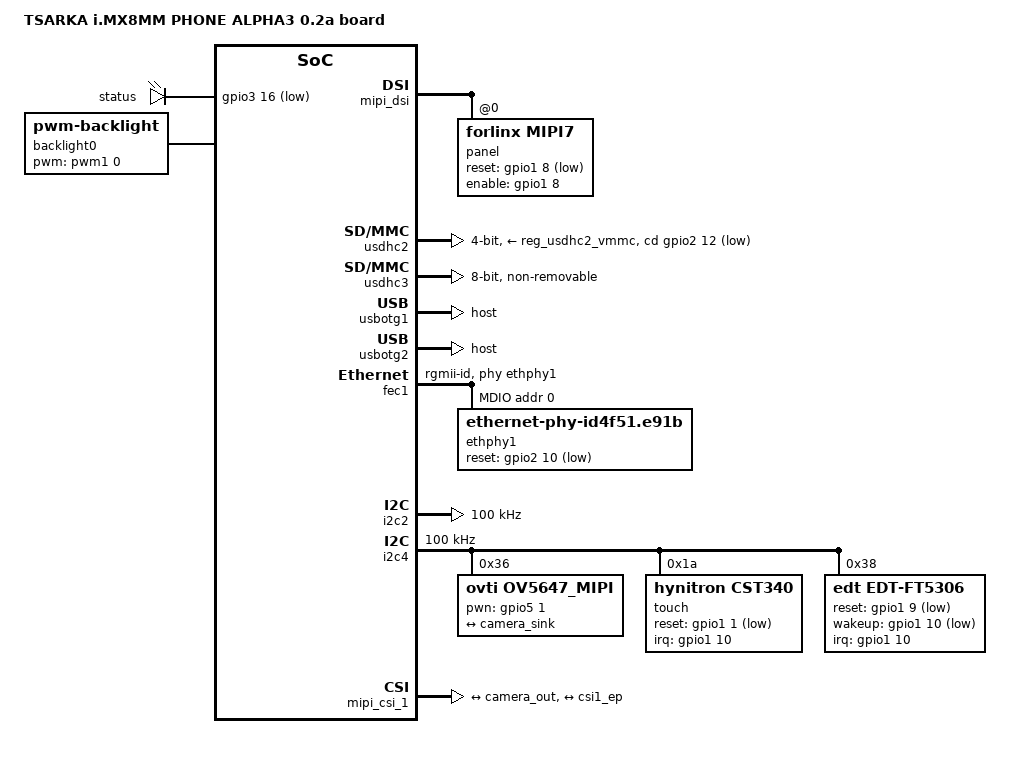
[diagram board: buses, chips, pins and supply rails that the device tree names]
#include "imx8mm-ddr4-evk.dts"

/ {
	model = "TSARKA i.MX8MM PHONE ALPHA3 0.2a board";
	leds {
		compatible = "gpio-leds";
		pinctrl-names = "default";
		pinctrl-0 = <&pinctrl_gpio_led>;

		status {
			label = "status";
			gpios = <&gpio3 16 GPIO_ACTIVE_LOW>;
			linux,default-trigger = "heartbeat";
		};
	};
	aliases {
		/delete-property/ mmc0;
		/delete-property/ sai3;
	};

	// sound-aic3104 {
	// 	compatible = "simple-audio-card";
	// 	simple-audio-card,name = "tsarka-audio";
	// 	simple-audio-card,format = "i2s";
	// 	simple-audio-card,bitclock-master = <&dailink0_master>;
	// 	simple-audio-card,frame-master = <&dailink0_master>;
	// 	simple-audio-card,widgets =
	// 		"Speaker", "Internal Speaker",
	// 		"Headphone", "Headphone Jack",
	// 		"Line", "Handset",
	// 		"Microphone", "Speaker Microphone",
	// 		"Microphone", "Headphone Microphone",
	// 		"Microphone", "Handset Microphone";

	// 	simple-audio-card,routing =
	// 		"Headphone Jack", "HPLOUT",
	// 		"Headphone Jack", "HPROUT",
	// 		"Headphone Microphone", "MIC2L",
	// 		"Headphone Microphone", "MIC2R",
	// 		"Internal Speaker", "LLOUT",
	// 		"Internal Speaker", "RLOUT",
	// 		"Speaker Microphone", "LINE1L",
	// 		"Speaker Microphone", "LINE1R",
	// 		"Handset", "RLOUT",
	// 		"Handset Microphone", "LINE1L";

	// 	dailink0_master: simple-audio-card,cpu {
	// 		sound-dai = <&sai2>;
	// 	};

	// 	simple-audio-card,codec {
	// 		sound-dai = <&tlv320aic3104>;
	// 		clocks = <&clk IMX8MM_CLK_SAI2>;
	// 	};
	// };

	backlight0: backlight@0 {
		compatible = "pwm-backlight";
		pwms = <&pwm1 0 50000 0>;

		brightness-levels = < 0 23 23 23 23 23 23 23 23 23
				     23 23 23 23 23 23 23 23 23 23
				     23 23 23 23 24 25 26 27 28 29
				     30 31 32 33 34 35 36 37 38 39
				     40 41 42 43 44 45 46 47 48 49
				     50 51 52 53 54 55 56 57 58 59
				     60 61 62 63 64 65 66 67 68 69
				     70 71 72 73 74 75 76 77 78 79
				     80 81 82 83 84 85 86 87 88 89
				     90 91 92 93 94 95 96 97 98 99
				    100>;
		default-brightness-level = <80>;
	};

	/delete-node/ sound-wm8524;
	/delete-node/ sound-bt-sco;
};

/delete-node/&audio_codec_bt_sco;

// Disable HDMI converter
&adv_bridge {
	status = "disabled";
};

&mipi_dsi {
	panel@0 {
		status = "okay";
		reg = <0>;
		compatible = "forlinx,mipi7";
		pinctrl-0 = <&pinctrl_mipi_dsi_en>;
		reset-gpios = <&gpio1 8 GPIO_ACTIVE_LOW>;
		enable-gpios = <&gpio1 8 GPIO_ACTIVE_HIGH>;
	};
};

&usdhc2 {
	pinctrl-names = "default", "state_100mhz", "state_200mhz";
	pinctrl-0 = <&pinctrl_usdhc2>, <&pinctrl_usdhc2_gpio>;
	pinctrl-1 = <&pinctrl_usdhc2_100mhz>, <&pinctrl_usdhc2_gpio>;
	pinctrl-2 = <&pinctrl_usdhc2_200mhz>, <&pinctrl_usdhc2_gpio>;
	cd-gpios = <&gpio2 12 GPIO_ACTIVE_LOW>;
	bus-width = <4>;
	vmmc-supply = <&reg_usdhc2_vmmc>;
	status = "okay";
};

&usdhc3 {
	pinctrl-names = "default", "state_100mhz", "state_200mhz";
	pinctrl-0 = <&pinctrl_usdhc3>;
	pinctrl-1 = <&pinctrl_usdhc3_100mhz>;
	pinctrl-2 = <&pinctrl_usdhc3_200mhz>;
	bus-width = <8>;
	non-removable;
	status = "okay";
};

&usbotg1 {
	dr_mode = "host";
	status = "okay";
};

&usbotg2 {
	dr_mode = "host";
	status = "okay";
};
 
/delete-node/&usdhc1;
/delete-node/&reg_usdhc1_vmmc;
/delete-node/&ethphy0;
&fec1 {
	pinctrl-names = "default";
	pinctrl-0 = <&pinctrl_fec1>;
	phy-mode = "rgmii-id";
	phy-handle = <&ethphy1>;
	fsl,magic-packet;
	status = "okay";

	mdio {
		#address-cells = <1>;
		#size-cells = <0>;

		ethphy1: ethernet-phy@0 {
			compatible = "ethernet-phy-id4f51.e91b","ethernet-phy-ieee802.3-c22";
			reg = <0>;
			reset-assert-us = <100000>;
			reset-deassert-us = <1000000>;
			reset-gpios = <&gpio2 10 GPIO_ACTIVE_LOW>;
			// interrupt-parent = <&gpio2>; // pin 2.11
 			// interrupts = <11 IRQ_TYPE_LEVEL_LOW>;
			//at803x,led-act-blind-workaround;
			//at803x,eee-okay;
			//at803x,vddio-1p8v;
			rx-internal-delay-ps = <1950>;
            tx-internal-delay-ps = <1950>;
			motorcomm,clk-out-frequency-hz = <125000000>;
            motorcomm,keep-pll-enabled;
            motorcomm,auto-sleep-disabled;
		};
	};
};

/delete-node/&ov5640_mipi;
/delete-node/&pcie0;
/delete-node/&pcie_phy;
/delete-node/&pinctrl_pcie0;
/delete-node/&pinctrl_pcie0_reg;
/delete-node/&pcie0_ep;
/delete-node/&reg_pcie0;
/delete-node/&sai3;

/delete-node/&pinctrl_gpio_wlf;
/delete-node/&wm8524;

&i2c2 {
	clock-frequency = <100000>;
	// tlv320aic3104: tlv320aic3104@18 {
	// 	#sound-dai-cells = <0>;
	// 	compatible = "ti,tlv320aic3104";
	// 	reg = <0x18>;
	// 	// pinctrl-names = "default";
	// 	// pinctrl-0 = <&pinctrl_tlv320aic3104_spkon>;
	// 	speakeron-gpios = <&gpio1 5 GPIO_ACTIVE_HIGH>;
	// 	reset-gpios = <&gpio4 21 GPIO_ACTIVE_LOW>;
	// 	reset-assert-us = <100000>;
	// 	reset-deassert-us = <1000000>;
	// 	ai3x-micbias-vg = <0x1>;
	// 	status = "okay";
	// };
};



&i2c4 {
    #address-cells = <1>;
    #size-cells = <0>;
	clock-frequency = <100000>;
	pinctrl-names = "default";
	pinctrl-0 = <&pinctrl_i2c4>;
	status = "okay";

    ov5647_mipi@36 {
        compatible = "ovti,ov5647_mipi";
        reg = <0x36>;
        clocks = <&cam1_clk>;
    	clock-names = "csi_mclk";

		pinctrl-names = "default";
		pinctrl-0 = <&pinctrl_csi_pwn>;
		pwn-gpios = <&gpio5 1 GPIO_ACTIVE_HIGH>;
		// reset-gpios = <&gpio5 1 GPIO_ACTIVE_LOW>;
		mclk = <24000000>;
		mclk_source = <0>;
		mipi_csi;
		csi_id = <0>;

        port {
            camera_out: endpoint {
            	remote-endpoint=<&camera_sink>;
            };
        };
        cam1_clk: cam1_clk {
            #clock-cells = <0>;
            compatible = "fixed-clock";
            clock-frequency = <24000000>;
        };       
    };

	// touchscreen@1a {
	// 	compatible = "goodix,gt1151";
	// 	reg = <0x1a>;
	// 	pinctrl-names = "default";
	// 	pinctrl-0 = <&pinctrl_i2c4_synaptics_dsx_io>;
	// 	interrupt-parent = <&gpio1>;
	// 	interrupts = <10 IRQ_TYPE_EDGE_FALLING>;
	// 	irq-gpios = <&gpio1 10 GPIO_ACTIVE_HIGH>;
	// 	edge-failling-trigger;
	// 	touchscreen-size-x = <1080>;
	// 	touchscreen-size-y = <1920>;
	// };

	// hynitron@1a {
	// 		compatible = "hynitron,cst340";
	// 		reg = <0x1a>;
	// 		hynitron,display-coords = <0 0 720 1280>;
	// 		hynitron,panel-coords = <0 0 720 1280>;
	// 		hynitron,button-map= <139 102 158>;
	// 		hynitron,vdd_ana = <2800>;
	// 		hynitron,vcc_i2c = <1800>;
	// 		gtp_int_trigger = <1>;
	// 		gtp_change_x2y = <0>;
	// 		gtp_overturn_x = <1>;
	// 		gtp_overturn_y = <1>;
	// 		gtp_send_cfg = <1>;
	// 		gtp_touch_wakeup = <1>;
	// 		hynitron,rst-gpio = <&gpio1 1  GPIO_ACTIVE_LOW>;
	// 		hynitron,irq-gpio = <&gpio1 10 IRQ_TYPE_EDGE_FALLING>;
	// };

	// <<<<-------------->>>>
	touch@1a {
		compatible = "hynitron,cst340";
		reg = <0x1a>;
		// pinctrl-names = "default";
		// pinctrl-0 = <&pinctrl_i2c4_synaptics_dsx_io>;
		reset-gpios = <&gpio1 1 GPIO_ACTIVE_LOW>; // TODO: REPLACE
		interrupt-parent = <&gpio1>;
		interrupts = <10 IRQ_TYPE_EDGE_FALLING>;
		// irq-gpios = <&gpio1 10 GPIO_ACTIVE_LOW>;
		// pinctrl-0 = <&touch_rst>;
		// pinctrl-names = "default";
		// reset-gpios = <&gpio4 RK_PA6 GPIO_ACTIVE_LOW>;
		touchscreen-size-x = <640>;
		touchscreen-size-y = <480>;
	};
	//<<<<----------------->>>>

	// cst148@1a { /* Touch: Hynitron Touch panel (1080p display) */
	// 	compatible = "hynitron,cst1xx";
	// 	reg = <0x1a>; 
	// 	vdd_ana-supply = <&reg_3p3v>;
	// 	vcc_i2c-supply = <&reg_3p3v>;
	// 	hynitron,panel-coords = <0 1080 0 1920>;
	// 	hynitron,display-coords = <0 1080 0 1920>;
	// 	pinctrl-names = "default";
	// 	pinctrl-0 = <&pinctrl_ts_active>;
	// /*dee	hynitron,irq-gpio = <&gpio1 8 GPIO_ACTIVE_LOW>;*/
	// 	hynitron,rst-gpio = <&gpio1 1 GPIO_ACTIVE_LOW>;
	// 	report_type = <1>;
	// 	status = "okay";
	// };

	// Touch panel GOODIX (Forlinx display)
	// gt928_ts@38 {
	// 	compatible = "goodix,gt928";
	// 	reg = <0x38>;
	// 	pinctrl-names = "default";
	// 	pinctrl-0 = <&pinctrl_ft5x06_int>;
	// 	interrupt-parent = <&gpio1>;
	// 	interrupts = <10 2>;
	// 	pwron-gpios = <&gpio1 8 GPIO_ACTIVE_LOW>;
	// 	goodix,rst-gpio = <&gpio1 9 0>;
	// 	goodix,irq-gpio = <&gpio1 10 0>;
	// 	status = "okay";
	// };


	edt-ft5306@38 {
		status = "okay";
		compatible = "edt,edt-ft5306", "edt,edt-ft5x06";
		pinctrl-names = "default";
		pinctrl-0 = <&pinctrl_ft5x06_int>;

		reg = <0x38>;
		interrupt-parent = <&gpio1>;
		interrupts = <10 IRQ_TYPE_EDGE_FALLING>;

		reset-gpios = <&gpio1 9 GPIO_ACTIVE_LOW>;
		wakeup-gpios = <&gpio1 10 GPIO_ACTIVE_LOW>;

         touchscreen-size-x = <1024>;
         touchscreen-size-y = <600>;
        //  touchscreen-inverted-x;
        //  touchscreen-swapped-x-y;
         linux,wakeup;


		// touchscreen-size-x = <1024>;
		// touchscreen-size-y = <600>;

		// wakeup-source;
	};
};

/delete-node/&mipi1_sensor_ep;
/delete-node/&csi1_mipi_ep;
&mipi_csi_1 {
	/delete-property/ port;
    #address-cells = <1>;
    #size-cells = <0>;
    status = "okay";
    port@0 {
        reg = <0>;
        camera_sink: endpoint@1 {
            remote-endpoint = <&camera_out>;
            clock-lanes = <0>;
                        data-lanes = <2>;
                        clock-noncontinuous;
                        link-frequencies = /bits/ 64 <297000000>;
        };
        csi1_mipi_ep: endpoint@2 {
            remote-endpoint = <&csi1_ep>;
        };
    };
};

&iomuxc {
	pinctrl_reg_usdhc1_vmmc: regusdhc1vmmcgrp {
		fsl,pins = <>;
	};
	pinctrl_fec1: fec1grp {
		fsl,pins = <
			MX8MM_IOMUXC_ENET_MDC_ENET1_MDC			0x3
			MX8MM_IOMUXC_ENET_MDIO_ENET1_MDIO		0x3
			MX8MM_IOMUXC_ENET_TD3_ENET1_RGMII_TD3		0x1f
			MX8MM_IOMUXC_ENET_TD2_ENET1_RGMII_TD2		0x1f
			MX8MM_IOMUXC_ENET_TD1_ENET1_RGMII_TD1		0x1f
			MX8MM_IOMUXC_ENET_TD0_ENET1_RGMII_TD0		0x1f
			MX8MM_IOMUXC_ENET_RD3_ENET1_RGMII_RD3		0x91
			MX8MM_IOMUXC_ENET_RD2_ENET1_RGMII_RD2		0x91
			MX8MM_IOMUXC_ENET_RD1_ENET1_RGMII_RD1		0x91
			MX8MM_IOMUXC_ENET_RD0_ENET1_RGMII_RD0		0x91
			MX8MM_IOMUXC_ENET_TXC_ENET1_RGMII_TXC		0x1f
			MX8MM_IOMUXC_ENET_RXC_ENET1_RGMII_RXC		0x91
			MX8MM_IOMUXC_ENET_RX_CTL_ENET1_RGMII_RX_CTL	0x91
			MX8MM_IOMUXC_ENET_TX_CTL_ENET1_RGMII_TX_CTL	0x1f
			// MX8MM_IOMUXC_SAI2_RXC_GPIO4_IO22		0x19
            MX8MM_IOMUXC_SD1_RESET_B_GPIO2_IO10     0x19
		>;
	};

	pinctrl_usdhc3: usdhc3grp {
		fsl,pins = <
			MX8MM_IOMUXC_NAND_WE_B_USDHC3_CLK		0x190
			MX8MM_IOMUXC_NAND_WP_B_USDHC3_CMD		0x1d0
			MX8MM_IOMUXC_NAND_DATA04_USDHC3_DATA0		0x1d0
			MX8MM_IOMUXC_NAND_DATA05_USDHC3_DATA1		0x1d0
			MX8MM_IOMUXC_NAND_DATA06_USDHC3_DATA2		0x1d0
			MX8MM_IOMUXC_NAND_DATA07_USDHC3_DATA3		0x1d0
			MX8MM_IOMUXC_NAND_RE_B_USDHC3_DATA4		0x1d0
			MX8MM_IOMUXC_NAND_CE2_B_USDHC3_DATA5		0x1d0
			MX8MM_IOMUXC_NAND_CE3_B_USDHC3_DATA6		0x1d0
			MX8MM_IOMUXC_NAND_CLE_USDHC3_DATA7		0x1d0
			MX8MM_IOMUXC_NAND_CE1_B_USDHC3_STROBE 		0x190
		>;
	};

	pinctrl_usdhc3_100mhz: usdhc3grp100mhz {
		fsl,pins = <
			MX8MM_IOMUXC_NAND_WE_B_USDHC3_CLK		0x194
			MX8MM_IOMUXC_NAND_WP_B_USDHC3_CMD		0x1d4
			MX8MM_IOMUXC_NAND_DATA04_USDHC3_DATA0		0x1d4
			MX8MM_IOMUXC_NAND_DATA05_USDHC3_DATA1		0x1d4
			MX8MM_IOMUXC_NAND_DATA06_USDHC3_DATA2		0x1d4
			MX8MM_IOMUXC_NAND_DATA07_USDHC3_DATA3		0x1d4
			MX8MM_IOMUXC_NAND_RE_B_USDHC3_DATA4		0x1d4
			MX8MM_IOMUXC_NAND_CE2_B_USDHC3_DATA5		0x1d4
			MX8MM_IOMUXC_NAND_CE3_B_USDHC3_DATA6		0x1d4
			MX8MM_IOMUXC_NAND_CLE_USDHC3_DATA7		0x1d4
			MX8MM_IOMUXC_NAND_CE1_B_USDHC3_STROBE 		0x194
		>;
	};

	pinctrl_usdhc3_200mhz: usdhc3grp200mhz {
		fsl,pins = <
			MX8MM_IOMUXC_NAND_WE_B_USDHC3_CLK		0x196
			MX8MM_IOMUXC_NAND_WP_B_USDHC3_CMD		0x1d6
			MX8MM_IOMUXC_NAND_DATA04_USDHC3_DATA0		0x1d6
			MX8MM_IOMUXC_NAND_DATA05_USDHC3_DATA1		0x1d6
			MX8MM_IOMUXC_NAND_DATA06_USDHC3_DATA2		0x1d6
			MX8MM_IOMUXC_NAND_DATA07_USDHC3_DATA3		0x1d6
			MX8MM_IOMUXC_NAND_RE_B_USDHC3_DATA4		0x1d6
			MX8MM_IOMUXC_NAND_CE2_B_USDHC3_DATA5		0x1d6
			MX8MM_IOMUXC_NAND_CE3_B_USDHC3_DATA6		0x1d6
			MX8MM_IOMUXC_NAND_CLE_USDHC3_DATA7		0x1d6
			MX8MM_IOMUXC_NAND_CE1_B_USDHC3_STROBE 		0x196
		>;
	};

	pinctrl_i2c4: i2c4grp {
		fsl,pins = <
			MX8MM_IOMUXC_I2C4_SCL_I2C4_SCL			0x400001c3
			MX8MM_IOMUXC_I2C4_SDA_I2C4_SDA			0x400001c3
		>;
	};

	pinctrl_i2c4_synaptics_dsx_io: synaptics_dsx_iogrp {
		fsl,pins = <
			MX8MM_IOMUXC_GPIO1_IO10_GPIO1_IO10               0x19    /* Touch int */
		>;
	};


	pinctrl_csi_pwn: csi_pwn_grp {
		fsl,pins = <
			MX8MM_IOMUXC_SAI3_TXD_GPIO5_IO1		0x19
		>;
	};


	// pinctrl_tlv320aic3104_spkon: tlv320aic3104_spkon_grp {
	// 	fsl,pins = <
	// 		MX8MM_IOMUXC_SAI3_TXD_GPIO1_IO5		0x19
	// 	>;
	// };

	// Touch panel FT5316 (Forlinx)
	pinctrl_ft5x06_int: ft5x06_int {
		fsl,pins = <
			MX8MM_IOMUXC_GPIO1_IO10_GPIO1_IO10		0x159
			MX8MM_IOMUXC_GPIO1_IO09_GPIO1_IO9		0x159	
		>;
	};

	// pinctrl_mipi_csi0: mipicsi0grp{
	// 	fsl,pins = <
	// 		SC_P_MIPI_CSI0_MCLK_OUT_MIPI_CSI0_ACM_MCLK_OUT 0xC0000041
	// 		SC_P_MIPI_CSI0_GPIO0_01_LSIO_GPIO3_IO07 0xC0000041
	// 		SC_P_MIPI_CSI0_GPIO0_00_LSIO_GPIO3_IO08 0xC0000041
	// 	>;
	// };
};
